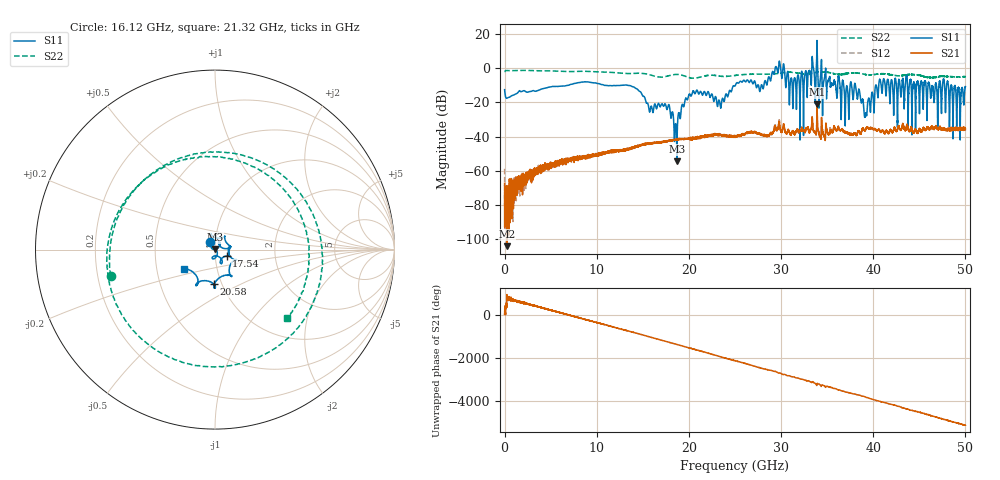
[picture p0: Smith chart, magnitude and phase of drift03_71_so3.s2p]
!Created with skrf (http://scikit-rf.org).
# Hz S RI R 50.0
!freq ReS11 ImS11 ReS21 ImS21 ReS12 ImS12 ReS22 ImS22
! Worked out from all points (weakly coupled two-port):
!   10001 points, 300 kHz to 50 GHz, reference 50 ohm
!   highest |S21| = -21.08 dB at 33.9 GHz (marker M1); lowest = -104.0 dB at 250.3 MHz (marker M2)
!   lowest |S11| = -54.4 dB at 18.7 GHz (marker M3), VSWR 1.00, Z = 50.1 + j0.184 ohm
!   |S11| at or under -10 dB: start of sweep to 6.945 GHz; 13.32 GHz to 25.05 GHz (11.73 GHz wide, 61.2 % of centre); 38.07 GHz to 40.26 GHz (2.187 GHz wide, 5.58 % of centre) (the widest 3 of 54)
!   |S22| runs from -5.9 to -1.3 dB; largest |S21 - S12| = 0.0072
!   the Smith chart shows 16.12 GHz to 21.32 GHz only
!   S11 on the Smith chart (normalised r, x): 16.12 GHz: 0.94, +0.08; 17.54 GHz: 1.13, -0.08; 20.58 GHz: 0.92, -0.37; 21.32 GHz: 0.69, -0.16
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300000  -0.2107 -0.1032  0.000379 0.000194  0.000546 0.00101  -0.7599 -0.2001
2.502985e8  -0.1096 0.0739  1.15e-06 6.18e-06  -4.68e-05 3.97e-05  -0.7427 0.4067
1.535291e9  0.2047 0.0436  -0.000225 -0.000569  -0.0002 -0.000466  0.849 0.0779
3.160281e9  -0.2189 -0.00834  0.000166 0.000721  0.00013 0.000776  -0.844 -0.0248
4.665272e9  0.2634 0.061  -0.000119 -0.00141  0.000136 -0.00147  0.819 0.1419
6.360262e9  -0.2999 0.000453  0.000531 0.00173  0.000551 0.00163  -0.8038 -0.0426
8.33525e9  0.2834 -0.2674  -0.00226 -0.00114  -0.00228 -0.00084  0.6024 -0.5361
9.575243e9  -0.3718 -0.0481  0.00119 0.00238  0.00145 0.00253  -0.7858 -0.0958
1.124023e10  0.3055 0.0262  -0.00236 -0.00263  -0.00229 -0.0028  0.7573 0.0266
1.61202e10  -0.0299 0.0425  0.00611 0.00242  0.00631 0.002  -0.5808 -0.1466
1.66702e10  0.054 0.0748  0.00459 -0.00483  0.00458 -0.00487  -0.3605 0.4172
1.753519e10  0.0645 -0.0353  -0.00621 -0.00406  -0.00621 -0.00394  0.4972 0.281
1.869519e10  0.000508 0.00184  0.00246 0.0079  0.00219 0.00787  -0.0897 -0.6459
2.057518e10  -0.00494 -0.1934  -0.00747 -0.00404  -0.0075 -0.00464  0.373 0.3455
2.131517e10  -0.172 -0.1078  -0.00537 0.00857  -0.00518 0.00844  0.4002 -0.3819
2.500015e10  -0.2971 -0.0485  0.00806 0.00648  0.00803 0.00678  -0.1825 -0.5802
3.051512e10  0.2372 -0.1256  -0.0023 0.0126  -0.00229 0.0128  0.7428 -0.068
3.213011e10  0.2002 0.3745  -0.000931 -0.0142  -7.73e-05 -0.0149  -0.6908 0.0085
3.33351e10  0.4955 -1.012  -0.00566 0.0244  -0.00635 0.0246  0.617 0.3657
3.38951e10  -0.7087 -6.388  0.088 0.00683  0.0808 0.00619  0.68 -0.3194
4.167005e10  -0.2298 0.2827  -0.0119 -0.00438  -0.0116 -0.00501  -0.6515 -0.0547
5e10  -0.1432 -0.2507  0.000893 -0.0161  0.00108 -0.0168  0.4644 -0.3149
